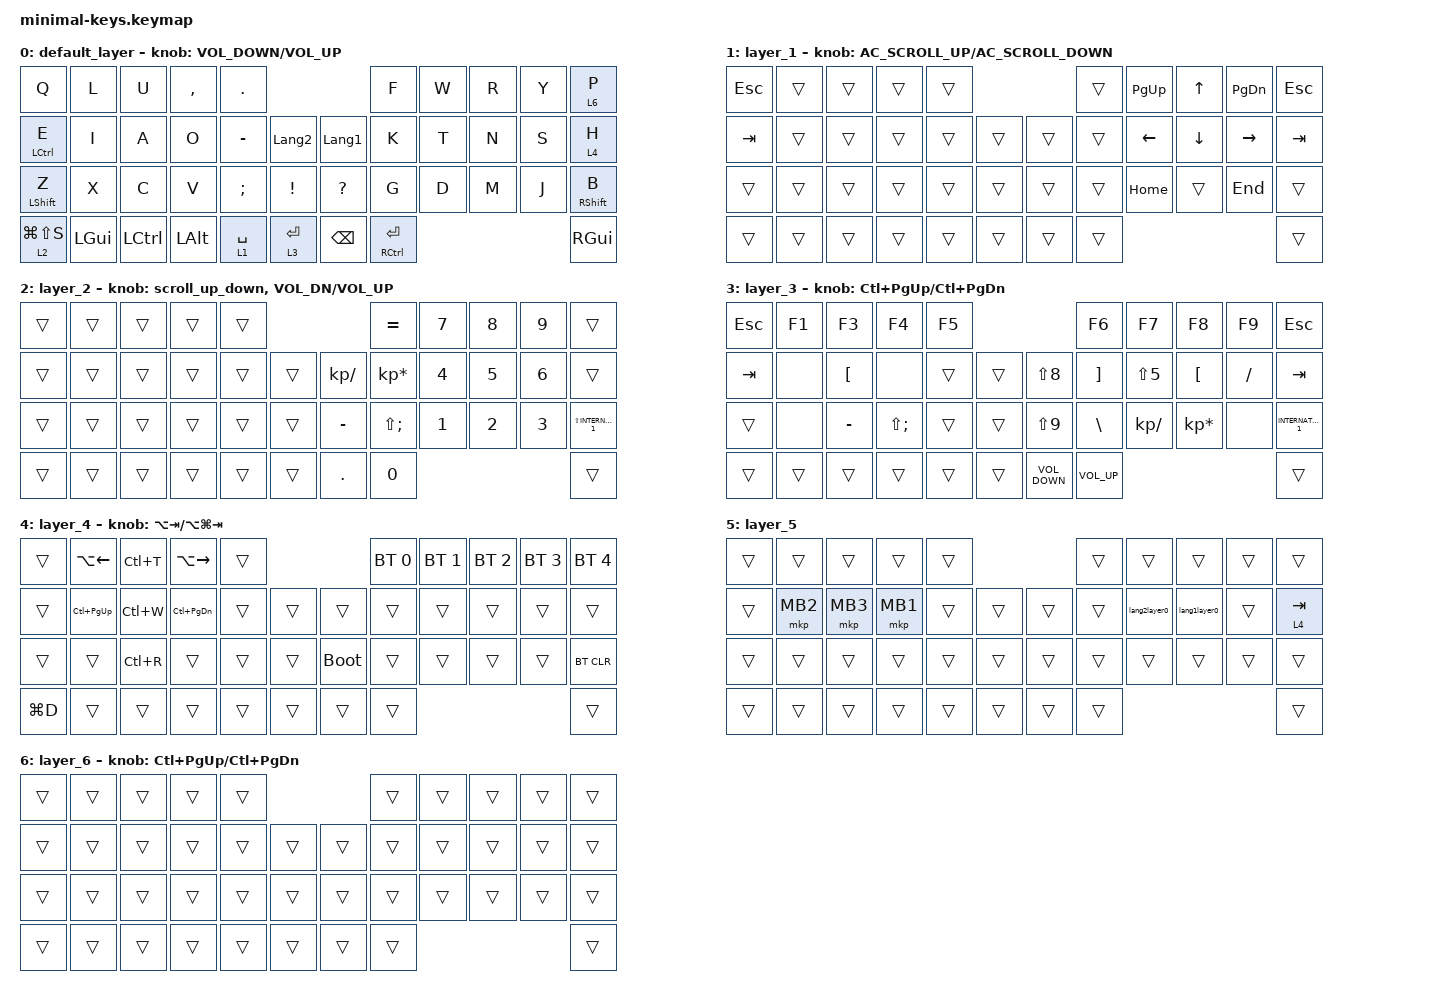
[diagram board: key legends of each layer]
#include <behaviors.dtsi>
#include <dt-bindings/zmk/bt.h>
#include <dt-bindings/zmk/keys.h>
#include <dt-bindings/zmk/pointing.h>

#undef ZMK_POINTING_DEFAULT_SCRL_VAL

#define ZMK_POINTING_DEFAULT_SCRL_VAL 100
#define MOUSE 6

&mt {
    flavor = "balanced";
    quick-tap-ms = <0>;
};

/ {
    combos {
        compatible = "zmk,combos";

        undo {
            bindings = <&kp LC(Z)>;
            key-positions = <11 12>;
        };

        redo {
            bindings = <&kp LC(LS(Z))>;
            key-positions = <12 13>;
        };

        copy {
            bindings = <&kp LC(C)>;
            key-positions = <18 19>;
        };

        paste {
            bindings = <&kp LC(V)>;
            key-positions = <19 20>;
        };

        cut {
            bindings = <&kp LC(X)>;
            key-positions = <6 7>;
        };

        layer2 {
            bindings = <&lt_to_layer_0 2 LEFT_CONTROL>;
            key-positions = <38 37>;
        };

        selectall {
            bindings = <&kp LC(A)>;
            key-positions = <17 16>;
        };
    };

    macros {
        to_layer_0: to_layer_0 {
            compatible = "zmk,behavior-macro-one-param";
            #binding-cells = <1>;
            bindings = <&to 0 &macro_param_1to1 &kp MACRO_PLACEHOLDER>;
            label = "TO_LAYER_0";
        };
    };

    behaviors {
        lt_to_layer_0: lt_to_layer_0 {
            compatible = "zmk,behavior-hold-tap";
            label = "LAYER_TAP_TO_0";
            bindings = <&mo>, <&to_layer_0>;

            #binding-cells = <2>;
            tapping-term-ms = <200>;
        };

        scroll_up_down: behavior_sensor_rotate_mouse_wheel_up_down {
            compatible = "zmk,behavior-sensor-rotate";
            #sensor-binding-cells = <0>;
            bindings = <&msc SCRL_UP>, <&msc SCRL_DOWN>;

            tap-ms = <20>;
        };

        scroll: scroll {
            compatible = "zmk,behavior-sensor-rotate";
            label = "SCROLL";
            #sensor-binding-cells = <0>;
            bindings = <&msc SCRL_DOWN>, <&msc SCRL_UP>;
        };
    };

    keymap {
        compatible = "zmk,keymap";

        default_layer {
            bindings = <
&kp Q               &kp L         &kp U             &kp COMMA     &kp PERIOD                                     &kp F                    &kp W  &kp R  &kp Y  &lt 6 P
&mt LEFT_CONTROL E  &kp I         &kp A             &kp O         &kp MINUS    &kp LANGUAGE_2    &kp LANGUAGE_1  &kp K                    &kp T  &kp N  &kp S  &lt 4 H
&mt LEFT_SHIFT Z    &kp X         &kp C             &kp V         &kp SEMI     &kp EXCL          &kp QUESTION    &kp G                    &kp D  &kp M  &kp J  &mt RSHIFT B
&lt 2 LG(LS(S))     &kp LEFT_GUI  &kp LEFT_CONTROL  &kp LEFT_ALT  &lt 1 SPACE  &lt 3 ENTER       &kp BACKSPACE   &mt RIGHT_CONTROL ENTER                       &kp RIGHT_GUI
            >;

            sensor-bindings = <&inc_dec_kp C_VOLUME_DOWN C_VOLUME_UP>;
        };

        layer_1 {
            bindings = <
&kp ESCAPE  &trans  &trans  &trans  &trans                    &trans  &kp PAGE_UP     &kp UP_ARROW    &kp PAGE_DOWN    &kp ESCAPE
&kp TAB     &trans  &trans  &trans  &trans  &trans    &trans  &trans  &kp LEFT_ARROW  &kp DOWN_ARROW  &kp RIGHT_ARROW  &kp TAB
&trans      &trans  &trans  &trans  &trans  &trans    &trans  &trans  &kp HOME        &trans          &kp END          &trans
&trans      &trans  &trans  &trans  &trans  &trans    &trans  &trans                                                   &trans
            >;

            sensor-bindings = <&inc_dec_kp C_AC_SCROLL_UP C_AC_SCROLL_DOWN>;
        };

        layer_2 {
            bindings = <
&trans  &trans  &trans  &trans  &trans                           &kp EQUAL          &kp N7        &kp N8        &kp N9        &trans
&trans  &trans  &trans  &trans  &trans  &trans    &kp KP_DIVIDE  &kp KP_ASTERISK    &kp NUMBER_4  &kp N5        &kp NUMBER_6  &trans
&trans  &trans  &trans  &trans  &trans  &trans    &kp MINUS      &kp LS(SEMICOLON)  &kp NUMBER_1  &kp NUMBER_2  &kp NUMBER_3  &kp LS(INTERNATIONAL_1)
&trans  &trans  &trans  &trans  &trans  &trans    &kp PERIOD     &kp N0                                                       &trans
            >;

            sensor-bindings =
                <&scroll_up_down>,
                <&inc_dec_kp C_VOL_DN C_VOL_UP>;
        };

        layer_3 {
            bindings = <
&kp ESCAPE  &kp F1  &kp F3            &kp F4             &kp F5                               &kp F6             &kp F7         &kp F8            &kp F9     &kp ESCAPE
&kp TAB     &none   &kp LEFT_BRACKET  &none              &trans  &trans    &kp LS(N8)         &kp RIGHT_BRACKET  &kp LS(N5)     &kp LEFT_BRACKET  &kp SLASH  &kp TAB
&trans      &none   &kp MINUS         &kp LS(SEMICOLON)  &trans  &trans    &kp LS(N9)         &kp BSLH           &kp KP_DIVIDE  &kp KP_ASTERISK   &none      &kp INTERNATIONAL_1
&trans      &trans  &trans            &trans             &trans  &trans    &kp C_VOLUME_DOWN  &kp C_VOLUME_UP                                                &trans
            >;

            sensor-bindings = <&inc_dec_kp LC(PAGE_UP) LC(PAGE_DOWN)>;
        };

        layer_4 {
            bindings = <
&trans     &kp LA(LEFT_ARROW)  &kp LC(T)  &kp LA(RIGHT_ARROW)  &trans                         &bt BT_SEL 0  &bt BT_SEL 1  &bt BT_SEL 2  &bt BT_SEL 3  &bt BT_SEL 4
&trans     &kp LC(PAGE_UP)     &kp LC(W)  &kp LC(PAGE_DOWN)    &trans  &trans    &trans       &trans        &trans        &trans        &trans        &trans
&trans     &trans              &kp LC(R)  &trans               &trans  &trans    &bootloader  &trans        &trans        &trans        &trans        &bt BT_CLR
&kp LG(D)  &trans              &trans     &trans               &trans  &trans    &trans       &trans                                                  &trans
            >;

            sensor-bindings = <&inc_dec_kp LA(TAB) LA(LG(TAB))>;
        };

        layer_5 {
            bindings = <
&trans  &trans    &trans    &trans    &trans                    &trans  &trans        &trans        &trans  &trans
&trans  &mkp MB2  &mkp MB3  &mkp MB1  &trans  &trans    &trans  &trans  &lang2layer0  &lang1layer0  &trans  &lt_to_layer_0 4 TAB
&trans  &trans    &trans    &trans    &trans  &trans    &trans  &trans  &trans        &trans        &trans  &trans
&trans  &trans    &trans    &trans    &trans  &trans    &trans  &trans                                      &trans
            >;
        };

        layer_6 {
            bindings = <
&trans  &trans  &trans  &trans  &trans                    &trans  &trans  &trans  &trans  &trans
&trans  &trans  &trans  &trans  &trans  &trans    &trans  &trans  &trans  &trans  &trans  &trans
&trans  &trans  &trans  &trans  &trans  &trans    &trans  &trans  &trans  &trans  &trans  &trans
&trans  &trans  &trans  &trans  &trans  &trans    &trans  &trans                          &trans
            >;

            sensor-bindings = <&inc_dec_kp LC(PAGE_UP) LC(PAGE_DOWN)>;
        };
    };
};

#define MOUSE 5

/ {
    macros {
        exit_AML: exit_AML {
            compatible = "zmk,behavior-macro";
            wait-ms = <0>;
            tap-ms = <0>;
            #binding-cells = <0>;
            bindings = <&tog_off MOUSE>;
            label = "exit_AML";
        };

        kp_exit_AML: kp_exit_AML {
            compatible = "zmk,behavior-macro-one-param";
            wait-ms = <0>;
            tap-ms = <0>;
            #binding-cells = <1>;
            bindings = <&macro_param_1to1 &kp MACRO_PLACEHOLDER &exit_AML>;  // ② 各バインディングを分割
            label = "KP_exit_AML";
        };

        lang2layer0: lang2layer0 {
            compatible = "zmk,behavior-macro";
            #binding-cells = <0>;
            bindings = <&kp LANGUAGE_2 &to 0>;
            label = "LANG2LAYER0";
        };

        lang1layer0: lang1layer0 {
            compatible = "zmk,behavior-macro";
            #binding-cells = <0>;
            bindings = <&kp LANGUAGE_1 &to 0>, <&macro_press>;

            label = "LANG1LAYER0";
        };
    };

    behaviors {
        tog_off: toggle_layer_off {
            compatible = "zmk,behavior-toggle-layer";
            #binding-cells = <1>;
            display-name = "Toggle Layer Off";
            toggle-mode = "off";
        };

        mt_exit_AML_on_tap: mt_exit_AML_on_tap {
            compatible = "zmk,behavior-hold-tap";
            label = "MT_exit_AML_ON_TAP";
            bindings = <&kp>, <&kp_exit_AML>;

            #binding-cells = <2>;
            tapping-term-ms = <200>;
            flavor = "balanced";
            quick-tap-ms = <200>;
        };
    };
};                           // ③ セミコロンを追加
